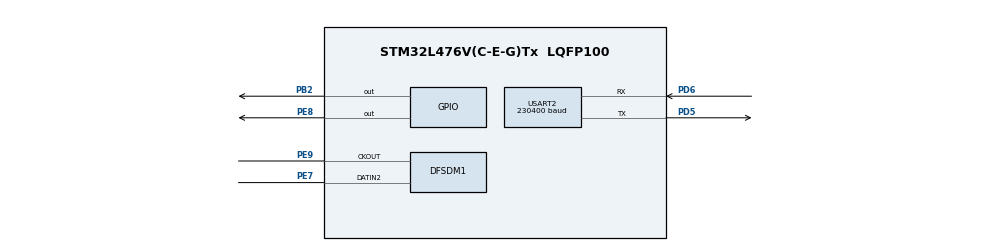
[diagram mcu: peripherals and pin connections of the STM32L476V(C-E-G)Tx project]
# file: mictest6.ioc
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DFSDM1.Divider=4
DFSDM1.DmaMode_reg_FIL0=ENABLE
DFSDM1.FastMode_reg_FIL0=ENABLE
DFSDM1.Filter_injChannel2_FIL0=__NULL
DFSDM1.Filter_regChannel_FIL0=DFSDM_CHANNEL_2
DFSDM1.Fosr_FIL0=128
DFSDM1.Selection=DFSDM_CHANNEL_OUTPUT_CLOCK_AUDIO
DFSDM1.SincOrder_FIL0=DFSDM_FILTER_SINC1_ORDER
Dma.DFSDM1_FLT0.2.Direction=DMA_PERIPH_TO_MEMORY
Dma.DFSDM1_FLT0.2.Instance=DMA1_Channel4
Dma.DFSDM1_FLT0.2.MemDataAlignment=DMA_MDATAALIGN_WORD
Dma.DFSDM1_FLT0.2.MemInc=DMA_MINC_ENABLE
Dma.DFSDM1_FLT0.2.Mode=DMA_CIRCULAR
Dma.DFSDM1_FLT0.2.PeriphDataAlignment=DMA_PDATAALIGN_WORD
Dma.DFSDM1_FLT0.2.PeriphInc=DMA_PINC_DISABLE
Dma.DFSDM1_FLT0.2.Priority=DMA_PRIORITY_LOW
Dma.Request0=USART2_RX
Dma.Request1=USART2_TX
Dma.Request2=DFSDM1_FLT0
Dma.USART2_RX.0.Direction=DMA_PERIPH_TO_MEMORY
Dma.USART2_RX.0.Instance=DMA1_Channel6
Dma.USART2_RX.0.MemDataAlignment=DMA_MDATAALIGN_BYTE
Dma.USART2_RX.0.MemInc=DMA_MINC_ENABLE
Dma.USART2_RX.0.Mode=DMA_NORMAL
Dma.USART2_RX.0.PeriphDataAlignment=DMA_PDATAALIGN_BYTE
Dma.USART2_RX.0.PeriphInc=DMA_PINC_DISABLE
Dma.USART2_RX.0.Priority=DMA_PRIORITY_LOW
Dma.USART2_TX.1.Direction=DMA_MEMORY_TO_PERIPH
Dma.USART2_TX.1.Instance=DMA1_Channel7
Dma.USART2_TX.1.MemDataAlignment=DMA_MDATAALIGN_BYTE
Dma.USART2_TX.1.MemInc=DMA_MINC_ENABLE
Dma.USART2_TX.1.Mode=DMA_NORMAL
Dma.USART2_TX.1.PeriphDataAlignment=DMA_PDATAALIGN_BYTE
Dma.USART2_TX.1.PeriphInc=DMA_PINC_DISABLE
Dma.USART2_TX.1.Priority=DMA_PRIORITY_LOW
Mcu.Family=STM32L4
Mcu.Name=STM32L476V(C-E-G)Tx
Mcu.Package=LQFP100
NVIC.DFSDM1_FLT0_IRQn=true\:0\:0\:false\:false\:true\:true\:true
NVIC.DMA1_Channel4_IRQn=true\:0\:0\:false\:false\:true\:false\:true
NVIC.DMA1_Channel6_IRQn=true\:0\:0\:false\:false\:true\:false\:true
NVIC.DMA1_Channel7_IRQn=true\:0\:0\:false\:false\:true\:false\:true
NVIC.PriorityGroup=NVIC_PRIORITYGROUP_4
NVIC.USART2_IRQn=true\:0\:0\:false\:false\:true\:true\:true
PB2.Signal=GPIO_Output
PD5.Mode=Asynchronous
PD5.Signal=USART2_TX
PD6.Mode=Asynchronous
PD6.Signal=USART2_RX
PE7.Signal=S_DATAIN2DFSDM1
PE8.Signal=GPIO_Output
PE9.Signal=S_CKOUTDFSDM1
ProjectManager.HeapSize=0x200
ProjectManager.StackSize=0x400
ProjectManager.TargetToolchain=STM32CubeIDE
RCC.HSE_VALUE=8000000
RCC.HSI_VALUE=16000000
RCC.LSE_VALUE=32768
RCC.MSI_VALUE=4000000
RCC.VCOOutputFreq_Value=32000000
SH.S_CKOUTDFSDM1.0=DFSDM1_CKOUT,PDM_SPI_input_from_ch2_and_internal_clock
SH.S_CKOUTDFSDM1.1=DFSDM1_CKOUT,CKOUT
SH.S_DATAIN2DFSDM1.0=DFSDM1_DATIN2,PDM_SPI_input_from_ch2_and_internal_clock
USART2.BaudRate=230400
USART2.VirtualMode-Asynchronous=VM_ASYNC
board=custom

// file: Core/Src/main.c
/* USER CODE BEGIN Header */
/**
  ******************************************************************************
  * @file           : main.c
  * @brief          : Main program body
  ******************************************************************************
  * @attention
  *
  * <h2><center>&copy; Copyright (c) 2021 STMicroelectronics.
  * All rights reserved.</center></h2>
  *
  * This software component is licensed by ST under BSD 3-Clause license,
  * the "License"; You may not use this file except in compliance with the
  * License. You may obtain a copy of the License at:
  *                        opensource.org/licenses/BSD-3-Clause
  *
  ******************************************************************************
  */
/* USER CODE END Header */
#include "main.h"

/* USER CODE BEGIN PM */
#define SaturaLH(N, L, H) (((N)<(L))?(L):(((N)>(H))?(H):(N)))
/* USER CODE END PM */

DFSDM_Filter_HandleTypeDef hdfsdm1_filter0;
DFSDM_Channel_HandleTypeDef hdfsdm1_channel2;
DMA_HandleTypeDef hdma_dfsdm1_flt0;

UART_HandleTypeDef huart2;
DMA_HandleTypeDef hdma_usart2_rx;
DMA_HandleTypeDef hdma_usart2_tx;

void SystemClock_Config(void);
static void MX_GPIO_Init(void);
static void MX_DMA_Init(void);
static void MX_USART2_UART_Init(void);
static void MX_DFSDM1_Init(void);

/* USER CODE BEGIN 0 */
uint32_t                     DmaRecHalfBuffCplt  = 0;
uint32_t                     DmaRecBuffCplt      = 0;
int32_t                      RecBuff[2048];
int16_t                      PlayBuff[2048];
int tx_complete = 1;
uint8_t toggle_count_full = 0;
uint8_t toggle_count_half = 0;
uint16_t test = -10;

/* USER CODE END 0 */

int main(void)
{

  /* MCU Configuration--------------------------------------------------------*/

  /* Reset of all peripherals, Initializes the Flash interface and the Systick. */
  HAL_Init();

  /* Configure the system clock */
  SystemClock_Config();

  /* Initialize all configured peripherals */
  MX_GPIO_Init();
  MX_DMA_Init();
  MX_USART2_UART_Init();
  MX_DFSDM1_Init();
  /* USER CODE BEGIN 2 */

  /* Start DFSDM conversions */
  if(HAL_OK != HAL_DFSDM_FilterRegularStart_DMA(&hdfsdm1_filter0, RecBuff, 2048))
  {
    Error_Handler();
  }

  /* USER CODE END 2 */

  /* Infinite loop */
  /* USER CODE BEGIN WHILE */
  uint8_t hello_world[] = "Hello, world!\n";
  while (1)
  {
	if(tx_complete){
		// HAL_UART_Transmit_DMA(&huart2, hello_world, sizeof(hello_world)-1);
		// tx_complete = 0;
	}
    if(DmaRecHalfBuffCplt == 1)
    {
      /* Store values on Play buff */
      for(uint32_t i = 0; i < 1024; i++)
      {
        PlayBuff[i]     = SaturaLH((RecBuff[i] >> 8), -32768, 32767);
        // PlayBuff[(2*i)+1] = PlayBuff[2*i];
      }

      DmaRecHalfBuffCplt  = 0;
    }
    if(DmaRecBuffCplt == 1)
    {
      /* Store values on Play buff */
      for(uint32_t i = 1024; i < 2048; i++)
      {
        PlayBuff[i]     = SaturaLH((RecBuff[i] >> 8), -32768, 32767);
        // PlayBuff[(2*i)+1] = PlayBuff[2*i];
      }
      HAL_UART_Transmit_DMA(&huart2, (uint8_t *) PlayBuff, sizeof(PlayBuff));
      DmaRecBuffCplt  = 0;
    }
    /* USER CODE END WHILE */

  }
}

void SystemClock_Config(void)
{
  RCC_OscInitTypeDef RCC_OscInitStruct = {0};
  RCC_ClkInitTypeDef RCC_ClkInitStruct = {0};
  RCC_PeriphCLKInitTypeDef PeriphClkInit = {0};

  /** Initializes the RCC Oscillators according to the specified parameters
  * in the RCC_OscInitTypeDef structure.
  */
  RCC_OscInitStruct.OscillatorType = RCC_OSCILLATORTYPE_MSI;
  RCC_OscInitStruct.MSIState = RCC_MSI_ON;
  RCC_OscInitStruct.MSICalibrationValue = 0;
  RCC_OscInitStruct.MSIClockRange = RCC_MSIRANGE_6;
  RCC_OscInitStruct.PLL.PLLState = RCC_PLL_NONE;
  if (HAL_RCC_OscConfig(&RCC_OscInitStruct) != HAL_OK)
  {
    Error_Handler();
  }
  /** Initializes the CPU, AHB and APB buses clocks
  */
  RCC_ClkInitStruct.ClockType = RCC_CLOCKTYPE_HCLK|RCC_CLOCKTYPE_SYSCLK
                              |RCC_CLOCKTYPE_PCLK1|RCC_CLOCKTYPE_PCLK2;
  RCC_ClkInitStruct.SYSCLKSource = RCC_SYSCLKSOURCE_MSI;
  RCC_ClkInitStruct.AHBCLKDivider = RCC_SYSCLK_DIV1;
  RCC_ClkInitStruct.APB1CLKDivider = RCC_HCLK_DIV1;
  RCC_ClkInitStruct.APB2CLKDivider = RCC_HCLK_DIV1;

  if (HAL_RCC_ClockConfig(&RCC_ClkInitStruct, FLASH_LATENCY_0) != HAL_OK)
  {
    Error_Handler();
  }
  PeriphClkInit.PeriphClockSelection = RCC_PERIPHCLK_USART2|RCC_PERIPHCLK_SAI1
                              |RCC_PERIPHCLK_DFSDM1;
  PeriphClkInit.Usart2ClockSelection = RCC_USART2CLKSOURCE_PCLK1;
  PeriphClkInit.Sai1ClockSelection = RCC_SAI1CLKSOURCE_PLLSAI1;
  PeriphClkInit.Dfsdm1ClockSelection = RCC_DFSDM1CLKSOURCE_PCLK;
  PeriphClkInit.PLLSAI1.PLLSAI1Source = RCC_PLLSOURCE_MSI;
  PeriphClkInit.PLLSAI1.PLLSAI1M = 1;
  PeriphClkInit.PLLSAI1.PLLSAI1N = 8;
  PeriphClkInit.PLLSAI1.PLLSAI1P = RCC_PLLP_DIV7;
  PeriphClkInit.PLLSAI1.PLLSAI1Q = RCC_PLLQ_DIV2;
  PeriphClkInit.PLLSAI1.PLLSAI1R = RCC_PLLR_DIV2;
  PeriphClkInit.PLLSAI1.PLLSAI1ClockOut = RCC_PLLSAI1_SAI1CLK;
  if (HAL_RCCEx_PeriphCLKConfig(&PeriphClkInit) != HAL_OK)
  {
    Error_Handler();
  }
  /** Configure the main internal regulator output voltage
  */
  if (HAL_PWREx_ControlVoltageScaling(PWR_REGULATOR_VOLTAGE_SCALE1) != HAL_OK)
  {
    Error_Handler();
  }
}

static void MX_DFSDM1_Init(void)
{

  hdfsdm1_filter0.Instance = DFSDM1_Filter0;
  hdfsdm1_filter0.Init.RegularParam.Trigger = DFSDM_FILTER_SW_TRIGGER;
  hdfsdm1_filter0.Init.RegularParam.FastMode = ENABLE;
  hdfsdm1_filter0.Init.RegularParam.DmaMode = ENABLE;
  hdfsdm1_filter0.Init.FilterParam.SincOrder = DFSDM_FILTER_SINC1_ORDER;
  hdfsdm1_filter0.Init.FilterParam.Oversampling = 128;
  hdfsdm1_filter0.Init.FilterParam.IntOversampling = 1;
  if (HAL_DFSDM_FilterInit(&hdfsdm1_filter0) != HAL_OK)
  {
    Error_Handler();
  }
  hdfsdm1_channel2.Instance = DFSDM1_Channel2;
  hdfsdm1_channel2.Init.OutputClock.Activation = ENABLE;
  hdfsdm1_channel2.Init.OutputClock.Selection = DFSDM_CHANNEL_OUTPUT_CLOCK_AUDIO;
  hdfsdm1_channel2.Init.OutputClock.Divider = 4;
  hdfsdm1_channel2.Init.Input.Multiplexer = DFSDM_CHANNEL_EXTERNAL_INPUTS;
  hdfsdm1_channel2.Init.Input.DataPacking = DFSDM_CHANNEL_STANDARD_MODE;
  hdfsdm1_channel2.Init.Input.Pins = DFSDM_CHANNEL_SAME_CHANNEL_PINS;
  hdfsdm1_channel2.Init.SerialInterface.Type = DFSDM_CHANNEL_SPI_RISING;
  hdfsdm1_channel2.Init.SerialInterface.SpiClock = DFSDM_CHANNEL_SPI_CLOCK_INTERNAL;
  hdfsdm1_channel2.Init.Awd.FilterOrder = DFSDM_CHANNEL_FASTSINC_ORDER;
  hdfsdm1_channel2.Init.Awd.Oversampling = 1;
  hdfsdm1_channel2.Init.Offset = 0;
  hdfsdm1_channel2.Init.RightBitShift = 0x00;
  if (HAL_DFSDM_ChannelInit(&hdfsdm1_channel2) != HAL_OK)
  {
    Error_Handler();
  }
  if (HAL_DFSDM_FilterConfigRegChannel(&hdfsdm1_filter0, DFSDM_CHANNEL_2, DFSDM_CONTINUOUS_CONV_ON) != HAL_OK)
  {
    Error_Handler();
  }

}

static void MX_USART2_UART_Init(void)
{

  huart2.Instance = USART2;
  huart2.Init.BaudRate = 230400;
  huart2.Init.WordLength = UART_WORDLENGTH_8B;
  huart2.Init.StopBits = UART_STOPBITS_1;
  huart2.Init.Parity = UART_PARITY_NONE;
  huart2.Init.Mode = UART_MODE_TX_RX;
  huart2.Init.HwFlowCtl = UART_HWCONTROL_NONE;
  huart2.Init.OverSampling = UART_OVERSAMPLING_16;
  huart2.Init.OneBitSampling = UART_ONE_BIT_SAMPLE_DISABLE;
  huart2.AdvancedInit.AdvFeatureInit = UART_ADVFEATURE_NO_INIT;
  if (HAL_UART_Init(&huart2) != HAL_OK)
  {
    Error_Handler();
  }

}

static void MX_DMA_Init(void)
{

  /* DMA controller clock enable */
  __HAL_RCC_DMA1_CLK_ENABLE();

  /* DMA interrupt init */
  /* DMA1_Channel4_IRQn interrupt configuration */
  HAL_NVIC_SetPriority(DMA1_Channel4_IRQn, 0, 0);
  HAL_NVIC_EnableIRQ(DMA1_Channel4_IRQn);
  /* DMA1_Channel6_IRQn interrupt configuration */
  HAL_NVIC_SetPriority(DMA1_Channel6_IRQn, 0, 0);
  HAL_NVIC_EnableIRQ(DMA1_Channel6_IRQn);
  /* DMA1_Channel7_IRQn interrupt configuration */
  HAL_NVIC_SetPriority(DMA1_Channel7_IRQn, 0, 0);
  HAL_NVIC_EnableIRQ(DMA1_Channel7_IRQn);

}

static void MX_GPIO_Init(void)
{
  LL_GPIO_InitTypeDef GPIO_InitStruct = {0};

  /* GPIO Ports Clock Enable */
  LL_AHB2_GRP1_EnableClock(LL_AHB2_GRP1_PERIPH_GPIOB);
  LL_AHB2_GRP1_EnableClock(LL_AHB2_GRP1_PERIPH_GPIOE);
  LL_AHB2_GRP1_EnableClock(LL_AHB2_GRP1_PERIPH_GPIOD);

  /**/
  LL_GPIO_ResetOutputPin(GPIOB, LL_GPIO_PIN_2);

  /**/
  LL_GPIO_ResetOutputPin(GPIOE, LL_GPIO_PIN_8);

  /**/
  GPIO_InitStruct.Pin = LL_GPIO_PIN_2;
  GPIO_InitStruct.Mode = LL_GPIO_MODE_OUTPUT;
  GPIO_InitStruct.Speed = LL_GPIO_SPEED_FREQ_LOW;
  GPIO_InitStruct.OutputType = LL_GPIO_OUTPUT_PUSHPULL;
  GPIO_InitStruct.Pull = LL_GPIO_PULL_NO;
  LL_GPIO_Init(GPIOB, &GPIO_InitStruct);

  /**/
  GPIO_InitStruct.Pin = LL_GPIO_PIN_8;
  GPIO_InitStruct.Mode = LL_GPIO_MODE_OUTPUT;
  GPIO_InitStruct.Speed = LL_GPIO_SPEED_FREQ_LOW;
  GPIO_InitStruct.OutputType = LL_GPIO_OUTPUT_PUSHPULL;
  GPIO_InitStruct.Pull = LL_GPIO_PULL_NO;
  LL_GPIO_Init(GPIOE, &GPIO_InitStruct);

}

/* USER CODE BEGIN 4 */
void HAL_UART_TxCpltCallback(UART_HandleTypeDef *huart){
	tx_complete = 1;
	LL_GPIO_TogglePin(GPIOE, LL_GPIO_PIN_8);
}

void HAL_DFSDM_FilterRegConvHalfCpltCallback(DFSDM_Filter_HandleTypeDef *hdfsdm_filter)
{
	DmaRecHalfBuffCplt = 1;
}

void HAL_DFSDM_FilterRegConvCpltCallback(DFSDM_Filter_HandleTypeDef *hdfsdm_filter)
{
	LL_GPIO_TogglePin(GPIOB, LL_GPIO_PIN_2);
	DmaRecBuffCplt = 1;
}
/* USER CODE END 4 */

void Error_Handler(void)
{
  __disable_irq();
  while (1)
  {
  }
}

/************************ (C) COPYRIGHT STMicroelectronics *****END OF FILE****/
